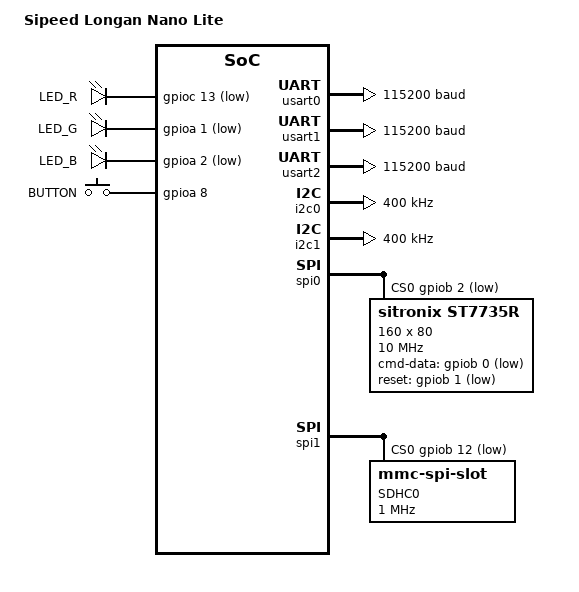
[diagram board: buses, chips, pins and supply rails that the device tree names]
/*
 * Copyright (c) 2021 Tokita, Hiroshi <tokita.hiroshi@gmail.com>
 *
 * SPDX-License-Identifier: Apache-2.0
 */

/dts-v1/;
#include <gigadevice-gd32vf103X8.dtsi>

/ {
	model = "Sipeed Longan Nano Lite";
	compatible = "sipeed,longan_nano_lite";

	chosen {
		zephyr,console = &usart0;
		zephyr,shell-uart = &usart0;
		zephyr,sram = &sram0;
		zephyr,flash = &flash0;
	};

	leds {
		compatible = "gpio-leds";
		led_red: led_red {
			gpios = <&gpioc 13 GPIO_ACTIVE_LOW>;
			label = "LED_R";
		};
		led_green: led_green {
			gpios = <&gpioa 1 GPIO_ACTIVE_LOW>;
			label = "LED_G";
		};
		led_blue: led_blue {
			gpios = <&gpioa 2 GPIO_ACTIVE_LOW>;
			label = "LED_B";
		};
	};

	gpio_keys {
		compatible = "gpio-keys";
		button: button {
			gpios = <&gpioa 8 GPIO_ACTIVE_HIGH>;
			label = "BUTTON";
		};
	};

	aliases {
		led0 = &led_red;
		led1 = &led_green;
		led2 = &led_blue;
		sw0 = &button;
	};
};

&usart0 {
	current-speed = <115200>;
	status = "okay";
};

&usart1 {
	current-speed = <115200>;
	status = "okay";
};

&usart2 {
	current-speed = <115200>;
	status = "okay";
};

&i2c0 {
	status = "okay";
	clock-frequency = <I2C_BITRATE_FAST>;
};

&i2c1 {
	status = "okay";
	clock-frequency = <I2C_BITRATE_FAST>;
};

&spi0 {
	status = "okay";
	cs-gpios = <&gpiob 2 GPIO_ACTIVE_LOW>;

	st7735r@0 {
		compatible = "sitronix,st7735r";
		label = "ST7735R";
		spi-max-frequency = <10000000>;
		reg = <0>;
		cmd-data-gpios = <&gpiob 0 GPIO_ACTIVE_LOW>;
		reset-gpios = <&gpiob 1 GPIO_ACTIVE_LOW>;
		width = <160>;
		height = <80>;
		x-offset = <1>;
		y-offset = <26>;
		display-inversion;
		madctl = <0x70>;
		colmod = <0x05>;
		vmctr1 = <0x0e>;
		invctr = <0x03>;
		pwctr1 = [62 02 04];
		pwctr2 = [c0];
		pwctr3 = [0d 00];
		pwctr4 = [8d 6a];
		pwctr5 = [8d ee];
		frmctr1 = [05 3a 3a];
		frmctr2 = [05 3a 3a];
		frmctr3 = [05 3a 3a 05 3a 3a];
		gamctrp1 = [10 0e 02 03 0e 07 02 07 0a 12 27 37 00 0d 0e 10];
		gamctrn1 = [10 0e 03 03 0f 06 02 08 0a 13 26 36 00 0d 0e 10];
	};
};

&spi1 {
	status = "okay";
        cs-gpios = <&gpiob 12 GPIO_ACTIVE_LOW>;

        sdhc0: sdhc@0 {
                compatible = "zephyr,mmc-spi-slot";
                reg = <0>;
                status = "okay";
                label = "SDHC0";
                spi-max-frequency = <1000000>;
        };

};
